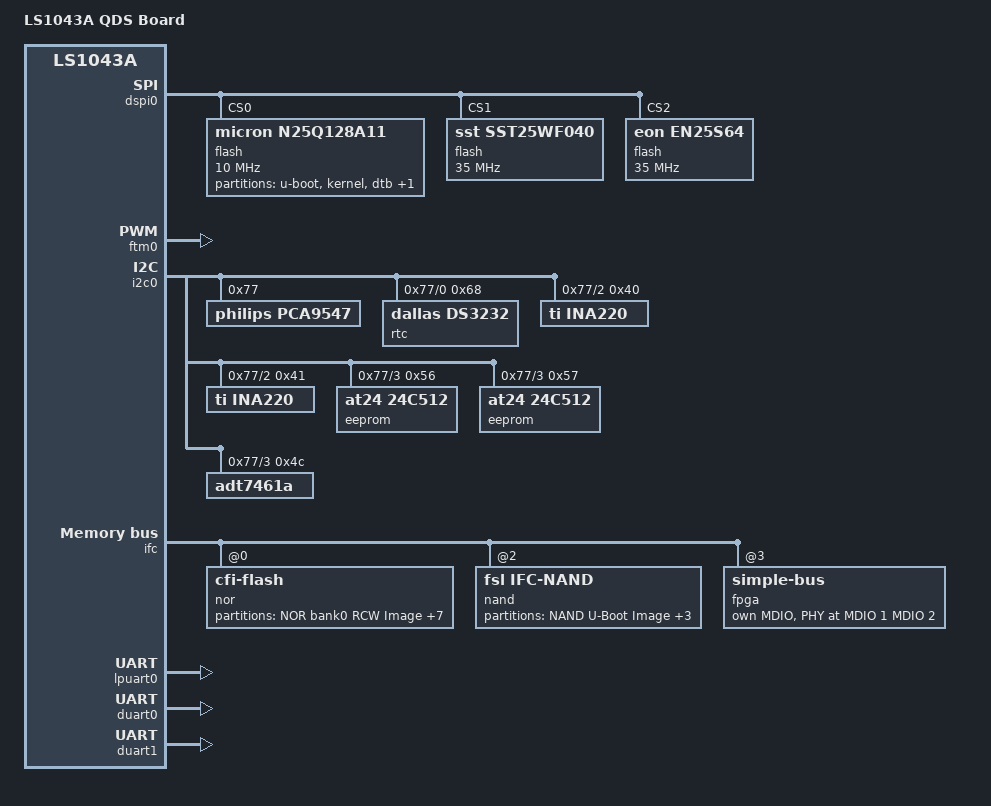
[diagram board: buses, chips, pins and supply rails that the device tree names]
/*
 * Device Tree Include file for Freescale Layerscape-1043A family SoC.
 *
 * Copyright (C) 2014-2015, Freescale Semiconductor
 *
 * Mingkai Hu <Mingkai.hu@freescale.com>
 *
 * This file is licensed under the terms of the GNU General Public
 * License version 2.  This program is licensed "as is" without any
 * warranty of any kind, whether express or implied.
 */

/dts-v1/;
/include/ "fsl-ls1043a.dtsi"

/ {
	model = "LS1043A QDS Board";

	aliases {
		serial0 = &lpuart0;
		serial1 = &lpuart1;
		serial2 = &lpuart2;
		serial3 = &lpuart3;
		serial4 = &lpuart4;
		serial5 = &lpuart5;
		sgmii_riser_s1_p1 = &sgmii_phy_s1_p1;
		sgmii_riser_s2_p1 = &sgmii_phy_s2_p1;
		sgmii_riser_s3_p1 = &sgmii_phy_s3_p1;
		sgmii_riser_s4_p1 = &sgmii_phy_s4_p1;
		qsgmii_s1_p1 = &qsgmii_phy_s1_p1;
		qsgmii_s1_p2 = &qsgmii_phy_s1_p2;
		qsgmii_s1_p3 = &qsgmii_phy_s1_p3;
		qsgmii_s1_p4 = &qsgmii_phy_s1_p4;
		qsgmii_s2_p1 = &qsgmii_phy_s2_p1;
		qsgmii_s2_p2 = &qsgmii_phy_s2_p2;
		qsgmii_s2_p3 = &qsgmii_phy_s2_p3;
		qsgmii_s2_p4 = &qsgmii_phy_s2_p4;
		emi1_slot1 = &ls1043mdio_s1;
		emi1_slot2 = &ls1043mdio_s2;
		emi1_slot3 = &ls1043mdio_s3;
		emi1_slot4 = &ls1043mdio_s4;

		ethernet0 = &fm1mac1;
		ethernet1 = &fm1mac2;
		ethernet2 = &fm1mac3;
		ethernet3 = &fm1mac4;
		ethernet4 = &fm1mac5;
		ethernet5 = &fm1mac6;
		ethernet6 = &fm1mac9;

		crypto = &crypto;
	};
};

&dspi0 {
	bus-num = <0>;
	status = "okay";

	flash@0 {
		#address-cells = <1>;
		#size-cells = <1>;
		compatible = "micron,n25q128a11";  /* 16MB */
		reg = <0>;
		spi-max-frequency = <10000000>; /* input clock */
		partition@u-boot {
			label = "u-boot";
			reg = <0x00000000 0x00100000>;
			read-only;
		};
		partition@kernel {
			label = "kernel";
			reg = <0x00100000 0x00500000>;
			read-only;
		};
		partition@dtb {
			label = "dtb";
			reg = <0x00600000 0x00100000>;
			read-only;
		};
		partition@fs {
			label = "file system";
			reg = <0x00700000 0x00900000>;
		};
	};

	flash@1 {
		#address-cells = <1>;
		#size-cells = <1>;
		compatible = "sst,sst25wf040";  /* 512KB */
		reg = <1>;
		spi-max-frequency = <35000000>; /* input clock */
	};

	flash@2 {
		#address-cells = <1>;
		#size-cells = <1>;
		compatible = "eon,en25s64";   /* 8MB */
		reg = <2>;
		spi-max-frequency = <35000000>; /* input clock */
	};
};

&ftm0 {
	status = "okay";
};

&i2c0 {
	status = "okay";
	pca9547@77 {
		compatible = "philips,pca9547";
		reg = <0x77>;
		#address-cells = <1>;
		#size-cells = <0>;

		i2c@0 {
			#address-cells = <1>;
			#size-cells = <0>;
			reg = <0x0>;

			rtc@68 {
				compatible = "dallas,ds3232";
				reg = <0x68>;
				/* IRQ10_B */
				interrupts = <0 150 0x4>;
			};
		};

		i2c@2 {
			#address-cells = <1>;
			#size-cells = <0>;
			reg = <0x2>;

			ina220@40 {
				compatible = "ti,ina220";
				reg = <0x40>;
				shunt-resistor = <1000>;
			};

			ina220@41 {
				compatible = "ti,ina220";
				reg = <0x41>;
				shunt-resistor = <1000>;
			};
		};

		i2c@3 {
			#address-cells = <1>;
			#size-cells = <0>;
			reg = <0x3>;

			eeprom@56 {
				compatible = "at24,24c512";
				reg = <0x56>;
			};

			eeprom@57 {
				compatible = "at24,24c512";
				reg = <0x57>;
			};

			adt7461a@4c {
				compatible = "adt7461a";
				reg = <0x4c>;
			};
		};
	};
};

&ifc {
	#address-cells = <2>;
	#size-cells = <1>;
	/* NOR, NAND Flashes and FPGA on board */
	ranges = <0x0 0x0 0x0 0x60000000 0x08000000
		  0x2 0x0 0x0 0x7e800000 0x00010000
		  0x3 0x0 0x0 0x7fb00000 0x00000100>;
	status = "okay";

	nor@0,0 {
		#address-cells = <1>;
		#size-cells = <1>;
		compatible = "cfi-flash";
		reg = <0x0 0x0 0x8000000>;
		bank-width = <2>;
		device-width = <1>;

		partition@0 {
			/* 128KB for rcw */
			reg = <0x00000000 0x0020000>;
			label = "NOR bank0 RCW Image";
		};

		partition@20000 {
			/* 1MB for DTB */
			reg = <0x00020000 0x00100000>;
			label = "NOR DTB Image";
		};

		partition@120000 {
			/* 8 MB for Linux Kernel Image */
			reg = <0x00120000 0x00800000>;
			label = "NOR Linux Kernel Image";
		};

		partition@920000 {
			/* 56MB for Ramdisk Root File System */
			reg = <0x00920000 0x03600000>;
			label = "NOR Ramdisk Root File System Image";
		};

		partition@3f80000 {
			/* 512KB for bank4 u-boot Image */
			reg = <0x03f80000 0x80000>;
			label = "NOR bank4 u-boot Image";
		};

		partition@4000000 {
			/* 128KB for bank4 RCW Image */
			reg = <0x04000000 0x20000>;
			label = "NOR bank4 RCW Image";
		};

		partition@4020000 {
			/* 63MB JFFS2 ROOT File System Image */
			reg = <0x04020000 0x3f00000>;
			label = "NOR JFFS2 ROOT File System Image";
		};

		partition@7f80000 {
			/* 512KB for bank0 u-boot Image */
			reg = <0x07f80000 0x80000>;
			label = "NOR bank0 u-boot Image";
		};
	};

	nand@2,0 {
		compatible = "fsl,ifc-nand";
		#address-cells = <1>;
		#size-cells = <1>;
		reg = <0x2 0x0 0x10000>;

		partition@0 {
			/* This location must not be altered  */
			/* 1MB for u-boot Bootloader Image */
			reg = <0x0 0x00100000>;
			label = "NAND U-Boot Image";
			read-only;
		};

		partition@100000 {
			/* 1MB for DTB Image */
			reg = <0x00100000 0x00100000>;
			label = "NAND DTB Image";
		};

		partition@200000 {
			/* 10MB for Linux Kernel Image */
			reg = <0x00200000 0x00a00000>;
			label = "NAND Linux Kernel Image";
		};

		partition@c00000 {
			/* 500MB for Root file System Image */
			reg = <0x00c00000 0x1f400000>;
			label = "NAND Compressed RFS Image";
		};
	};

	fpga: board-control@3,0 {
		#address-cells = <1>;
		#size-cells = <1>;
		compatible = "simple-bus";
		reg = <0x3 0x0 0x0000100>;
		bank-width = <1>;
		device-width = <1>;
		ranges = <0 3 0 0x100>;
	};
};

&fman0 {
	ethernet@e0000 {
		phy-handle = <&qsgmii_phy_s2_p1>;
		phy-connection-type = "sgmii";
	};

	ethernet@e2000 {
		phy-handle = <&qsgmii_phy_s2_p2>;
		phy-connection-type = "sgmii";
	};

	ethernet@e4000 {
		phy-handle = <&rgmii_phy1>;
		phy-connection-type = "rgmii";
	};

	ethernet@e6000 {
		phy-handle = <&rgmii_phy2>;
		phy-connection-type = "rgmii";
	};

	ethernet@e8000 {
		phy-handle = <&qsgmii_phy_s2_p3>;
		phy-connection-type = "sgmii";
	};

	ethernet@ea000 {
		phy-handle = <&qsgmii_phy_s2_p4>;
		phy-connection-type = "sgmii";
	};

	ethernet@f0000 { /* DTSEC9/10GEC1 */
		fixed-link = <1 1 10000 0 0>;
		phy-connection-type = "xgmii";
	};

	mdio0: mdio@fc000 {
	};

	xmdio0: mdio@fd000 {
	};
};

&fpga {
	mdio-mux-emi1 {
		compatible = "mdio-mux-mmioreg", "mdio-mux";
		mdio-parent-bus = <&mdio0>;
		#address-cells = <1>;
		#size-cells = <0>;
		reg = <0x54 1>;    /* BRDCFG4 */
		mux-mask = <0xe0>; /* EMI1 */

		/* On-board RGMII1 PHY */
		ls1043mdio0: mdio@0 {
			reg = <0>;
			#address-cells = <1>;
			#size-cells = <0>;

			rgmii_phy1: ethernet-phy@1 { /* MAC3 */
				reg = <0x1>;
			};
		};

		/* On-board RGMII2 PHY */
		ls1043mdio1: mdio@1 {
			reg = <0x20>;
			#address-cells = <1>;
			#size-cells = <0>;

			rgmii_phy2: ethernet-phy@2 { /* MAC4 */
				reg = <0x2>;
			};
		};

		/* Slot 1 */
		ls1043mdio_s1: mdio@2 {
			reg = <0x40>;
			#address-cells = <1>;
			#size-cells = <0>;
			status = "disabled";

			qsgmii_phy_s1_p1: ethernet-phy@4 {
				reg = <0x4>;
			};
			qsgmii_phy_s1_p2: ethernet-phy@5 {
				reg = <0x5>;
			};
			qsgmii_phy_s1_p3: ethernet-phy@6 {
				reg = <0x6>;
			};
			qsgmii_phy_s1_p4: ethernet-phy@7 {
				reg = <0x7>;
			};

			sgmii_phy_s1_p1: ethernet-phy@1c {
				reg = <0x1c>;
			};
		};

		/* Slot 2 */
		ls1043mdio_s2: mdio@3 {
			reg = <0x60>;
			#address-cells = <1>;
			#size-cells = <0>;
			status = "disabled";

			qsgmii_phy_s2_p1: ethernet-phy@8 {
				reg = <0x8>;
			};
			qsgmii_phy_s2_p2: ethernet-phy@9 {
				reg = <0x9>;
			};
			qsgmii_phy_s2_p3: ethernet-phy@a {
				reg = <0xa>;
			};
			qsgmii_phy_s2_p4: ethernet-phy@b {
				reg = <0xb>;
			};

			sgmii_phy_s2_p1: ethernet-phy@1c {
				reg = <0x1c>;
			};
		};

		/* Slot 3 */
		ls1043mdio_s3: mdio@4 {
			reg = <0x80>;
			#address-cells = <1>;
			#size-cells = <0>;
			status = "disabled";

			sgmii_phy_s3_p1: ethernet-phy@1c {
				reg = <0x1c>;
			};
		};

		/* Slot 4 */
		ls1043mdio_s4: mdio@5 {
			reg = <0xa0>;
			#address-cells = <1>;
			#size-cells = <0>;
			status = "disabled";

			sgmii_phy_s4_p1: ethernet-phy@1c {
				reg = <0x1c>;
			};
		};
	};
};

&lpuart0 {
	status = "okay";
};

&duart0 {
	status = "okay";
};

&duart1 {
	status = "okay";
};
